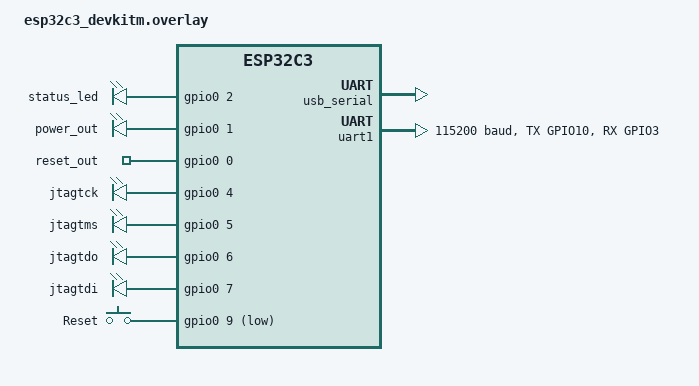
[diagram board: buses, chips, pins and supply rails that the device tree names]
/*
 * SPDX-FileCopyrightText: © 2025-2026 Tenstorrent AI ULC
 * SPDX-License-Identifier: Apache-2.0
 */

#include <zephyr/dt-bindings/pinctrl/esp-pinctrl-common.h>
#include <zephyr/dt-bindings/pinctrl/esp32c3-pinctrl.h>
#include <zephyr/dt-bindings/pinctrl/esp32c3-gpio-sigmap.h>

// Espressif ESP32-C3 DevKitM

&pinctrl {
    uart1_default: uart1_default {
        group1 {
            pinmux = <UART1_TX_GPIO10>;
            output-high;
        };
        group2 {
            pinmux = <UART1_RX_GPIO3>;
            bias-pull-up;
        };
    };
};

/ {
    chosen {
        zephyr,entropy = &trng0;
        zephyr,flash = &flash0;
        zephyr,code-partition = &slot0_partition;
        zephyr,console = &usb_serial;
        zephyr,shell-uart = &usb_serial;
    };

    /*
     * GPIO pin assignments are preliminary — adjust based on actual
     * test rig wiring (see docs/hardware/rpi-esp32c3.md).
     *
     * ESP32-C3 available GPIOs: 0-10, 18-21
     *   GPIO2  = onboard LED (most DevKitM boards)
     *   GPIO11-17 = flash/PSRAM (unavailable)
     */

    leds {
        compatible = "gpio-leds";

        status_led: status_led {
            gpios = <&gpio0 2 GPIO_ACTIVE_HIGH>;
        };

        /* Power and reset control — directly drive target GPIOs.
         * GPIO1  (RPi GPIO20, pin 38) = power control
         * GPIO0  (RPi GPIO21, pin 40) = reset control
         *
         * Note: GPIO0 is a strapping pin on ESP32-C3 (selects boot
         * mode).  It is safe to drive as output after boot, but the
         * RPi side (GPIO21) MUST be high-impedance (input, no pull)
         * during ESP32-C3 power-on/reset to avoid forcing download
         * mode.  The verify_wallabmc_web.py test reads it as INPUT.
         */
        power_out: power_out {
            gpios = <&gpio0 1 GPIO_ACTIVE_HIGH>;
        };
        reset_out: reset_out {
            gpios = <&gpio0 0 GPIO_ACTIVE_HIGH>;
        };
    };

    jtag {
        compatible = "gpio-leds";

        jtagtck: jtag_tck {
            gpios = <&gpio0 4 GPIO_ACTIVE_HIGH>;
        };
        jtagtms: jtag_tms {
            gpios = <&gpio0 5 GPIO_ACTIVE_HIGH>;
        };
        jtagtdo: jtag_tdo {
            gpios = <&gpio0 6     GPIO_PULL_UP>;
        };
        jtagtdi: jtag_tdi {
            gpios = <&gpio0 7 GPIO_ACTIVE_HIGH>;
        };
    };

    gpio_keys {
        compatible = "gpio-keys";

        reset_button: button_0 {
            label = "Reset";
            gpios = <&gpio0 9 GPIO_ACTIVE_LOW>;
            zephyr,code = <INPUT_KEY_0>;
        };
    };

    aliases {
        status-led = &status_led;

        /* Power/reset control — directly drive target GPIOs */
        power-gpio-1 = &power_out;   /* GPIO1 -> RPi GPIO20 */
        reset-gpio = &reset_out;     /* GPIO0 -> RPi GPIO21 */

        jtagtck = &jtagtck;
        jtagtms = &jtagtms;
        jtagtdi = &jtagtdi;
        jtagtdo = &jtagtdo;

        host-console-uart = &uart1;
        reset-button = &reset_button;
    };
};

&usb_serial {
    status = "okay";
};

&uart1 {
    status = "okay";
    current-speed = <115200>;
    pinctrl-0 = <&uart1_default>;
    pinctrl-names = "default";
};

/*
 * Flash partitions: use the default Espressif 4MB layout from
 * partitions_0x0_default_4M.dtsi which provides:
 *   boot_partition    @ 0x000000  64KB  (mcuboot)
 *   slot0_partition   @ 0x020000  1792KB (image-0)
 *   storage_partition @ 0x3b0000  192KB  (NVS)
 */
